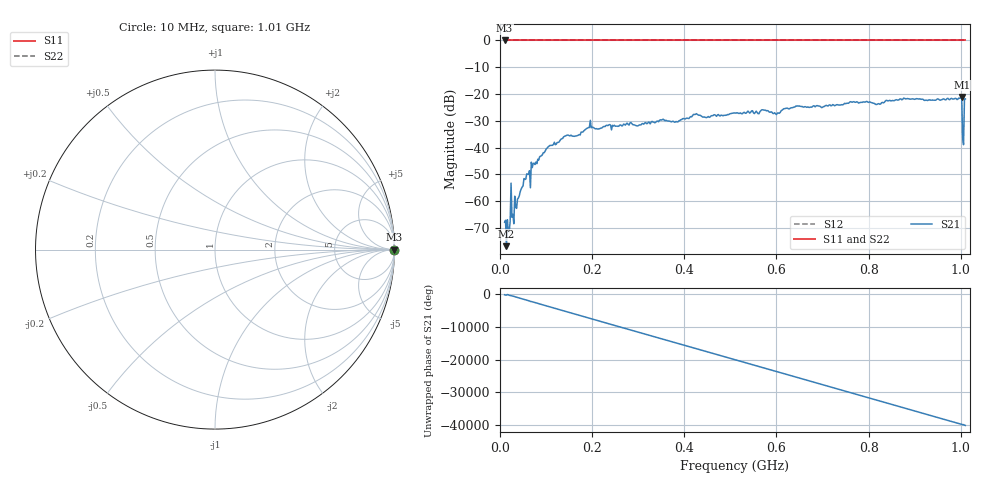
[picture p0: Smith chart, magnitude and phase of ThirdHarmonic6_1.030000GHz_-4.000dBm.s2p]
! 8/16/2025 8:46:32 AM
! C:\ANRITSUVNA\TEMP\TEMP.S2P
! CHANNEL.1
! TR.MEASUREMENT
! RAW.DATA
! RF.CORRECTION.OFF
! AVERAGING.OFF
! IF.BANDWIDTH: 5KHZ
! SWEEPTYPE:  FREQ.SWEEP(Linear)
! Reference Plane Port Info
! PORT:  PORT1  PORT2
! DISTANCE:  0  m  0  m
! TIME:  0  s  0  s
! PHASE.OFFSET:  0  deg.  0  deg.
! LOSS:  0  dB  0  dB
! REF.LOSS:  0  dB  0  dB
! REF.FREQ:  0  Hz  0  Hz
! Power Info
! POWER:  -20  dBm  -20  dBm
! EFF.POWER:  -20  dBm  -20  dBm
! SOURCE.ATTEN:  0  dB  0  dB
! TEST.ATTEN:  0  dB  0  dB
# GHZ S RI R 50.0
! FREQ.GHZ  S11RE  S11IM  S21RE  S21IM  S12RE  S12IM  S22RE  S22IM
!; PortSelection: Port_12
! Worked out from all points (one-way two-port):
!   501 points, 10 MHz to 1.01 GHz, reference 50 ohm
!   highest |S21| = -21.11 dB at 1.002 GHz (marker M1); lowest = -76.8 dB at 14 MHz (marker M2)
!   lowest |S11| = 0.0 dB at 10 MHz (marker M3)
!   |S11| at or under -10 dB: nowhere
!   |S22| runs from 0.0 to 0.0 dB; largest |S21 - S12| = 1.1
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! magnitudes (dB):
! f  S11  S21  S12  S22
! 10 MHz  0.0  -67.8  0.0  0.0
! 14 MHz  0.0  -76.8  0.0  0.0
! 18 MHz  0.0  -71.2  0.0  0.0
! 20 MHz  0.0  -71.3  0.0  0.0
! 28 MHz  0.0  -64.9  0.0  0.0
! 32 MHz  0.0  -58.1  0.0  0.0
! 56 MHz  0.0  -51.7  0.0  0.0
! 62 MHz  0.0  -50.0  0.0  0.0
! 72 MHz  0.0  -45.9  0.0  0.0
! 106 MHz  0.0  -39.5  0.0  0.0
! 142 MHz  0.0  -35.6  0.0  0.0
! 178 MHz  0.0  -34.2  0.0  0.0
! 196 MHz  0.0  -29.8  0.0  0.0
! 344 MHz  0.0  -30.4  0.0  0.0
! 510 MHz  0.0  -27.1  0.0  0.0
! 602 MHz  0.0  -27.1  0.0  0.0
! 678 MHz  0.0  -24.7  0.0  0.0
! 844 MHz  0.0  -22.5  0.0  0.0
! 998 MHz  0.0  -21.6  0.0  0.0
! 1.002 GHz  0.0  -21.1  0.0  0.0
! 1.008 GHz  0.0  -21.9  0.0  0.0
! 1.01 GHz  0.0  -21.8  0.0  0.0
